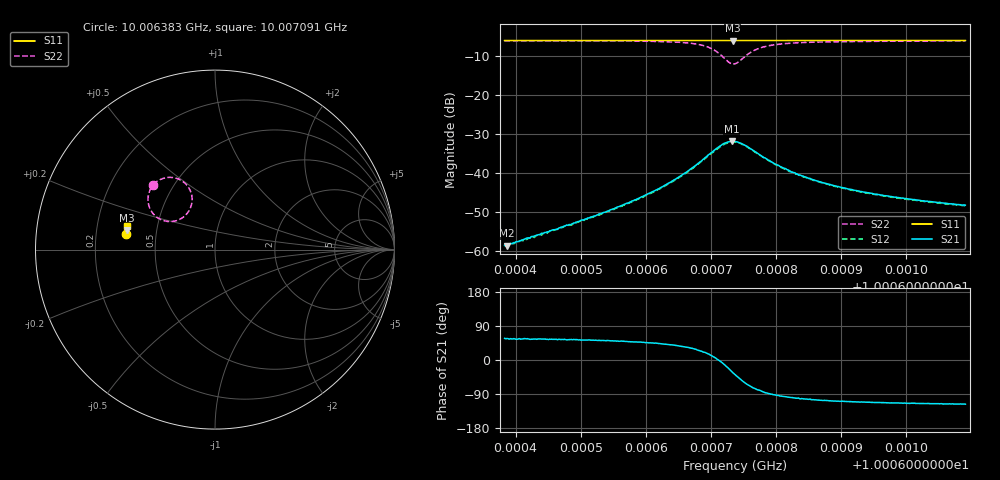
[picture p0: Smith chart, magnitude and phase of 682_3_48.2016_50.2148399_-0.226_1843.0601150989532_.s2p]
#  HZ  S  RI  R  50.00
! Rohde & Schwarz Vector Network Analyzer
! Rohde-Schwarz,ZNB20-2Port,1311601062101988,3.16
! Created: UTC 3/20/2024, 12:06:41 PM
! freq[Hz]  re:S11  im:S11  re:S21  im:S21  re:S12  im:S12  re:S22  im:S22
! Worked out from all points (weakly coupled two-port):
!   401 points, 10.006383 GHz to 10.007091 GHz, reference 50 ohm
!   highest |S21| = -31.76 dB at 10.006732 GHz (marker M1); lowest = -58.5 dB at 10.006387 GHz (marker M2)
!   lowest |S11| = -6.0 dB at 10.006734 GHz (marker M3), VSWR 3.02, Z = 16.7 + j4.77 ohm
!   |S11| at or under -10 dB: nowhere
!   |S22| runs from -12.0 to -6.0 dB; largest |S21 - S12| = 0.0018
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1.00063832e10  -0.4969 0.085  0.00065 0.001  0.000608 0.00104  -0.3444 0.3627
1.00063867e10  -0.4967 0.0852  0.000649 0.000994  0.000608 0.00102  -0.3442 0.363
1.00065018e10  -0.4955 0.0927  0.00154 0.00201  0.00135 0.00205  -0.3289 0.3759
1.00065779e10  -0.4948 0.0979  0.00292 0.00327  0.00268 0.00331  -0.3096 0.3881
1.00066204e10  -0.4942 0.1007  0.00462 0.00439  0.00439 0.00452  -0.2887 0.3967
1.00066611e10  -0.4933 0.1036  0.00846 0.00573  0.00793 0.00605  -0.248 0.4025
1.00066912e10  -0.4923 0.1057  0.015 0.00543  0.0144 0.00588  -0.1879 0.3852
1.00067036e10  -0.4918 0.1063  0.019 0.00303  0.0183 0.00394  -0.1542 0.3558
1.0006716e10  -0.4911 0.1065  0.0228 -0.002  0.0222 -0.000853  -0.1292 0.2999
1.00067248e10  -0.4907 0.1066  0.0238 -0.00779  0.0235 -0.00625  -0.1325 0.2447
1.00067319e10  -0.4907 0.1066  0.0224 -0.0129  0.0226 -0.0111  -0.155 0.202
1.00067337e10  -0.4906 0.1065  0.0217 -0.0141  0.022 -0.0123  -0.1632 0.1926
1.00067372e10  -0.4907 0.1066  0.0201 -0.016  0.0206 -0.0144  -0.182 0.1771
1.00067443e10  -0.491 0.1065  0.0162 -0.0187  0.0171 -0.0174  -0.225 0.1588
1.00067531e10  -0.4913 0.1069  0.011 -0.0199  0.0121 -0.019  -0.2754 0.1588
1.00067655e10  -0.4917 0.1077  0.0054 -0.0188  0.00658 -0.0184  -0.3254 0.1816
1.00067797e10  -0.4922 0.1088  0.00189 -0.0162  0.00269 -0.0159  -0.3549 0.2141
1.00068115e10  -0.4921 0.1113  -0.00124 -0.0117  -0.000721 -0.0115  -0.373 0.2672
1.00068558e10  -0.4916 0.1143  -0.0021 -0.0081  -0.00169 -0.0081  -0.3709 0.3046
1.00069124e10  -0.491 0.1181  -0.00212 -0.00592  -0.0018 -0.00592  -0.3634 0.3279
1.00069744e10  -0.4902 0.1222  -0.00202 -0.00468  -0.00172 -0.0047  -0.3563 0.3422
1.00070912e10  -0.4885 0.1297  -0.00175 -0.00351  -0.00156 -0.00352  -0.3457 0.3581
